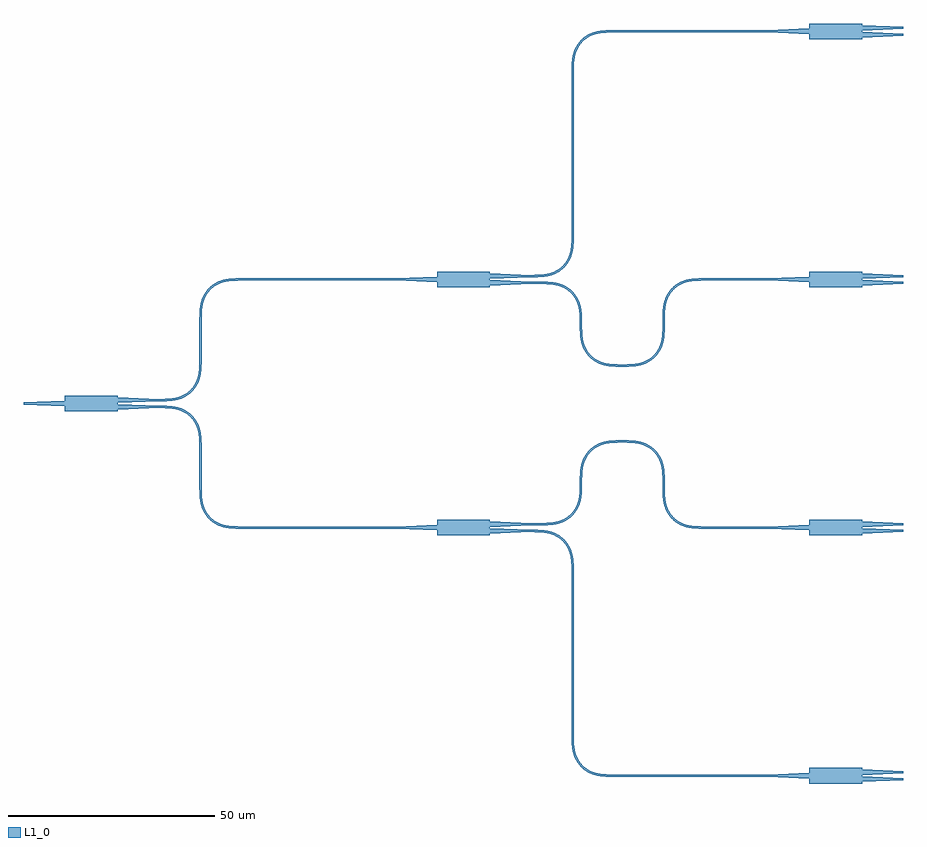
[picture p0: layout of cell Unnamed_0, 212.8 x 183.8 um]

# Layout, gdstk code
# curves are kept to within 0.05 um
from math import pi, radians
import gdstk
lib = gdstk.Library(unit=1e-6, precision=1e-09)
def R(c, l, rs):  # rectangles x0, y0, x1, y1
    for r in rs: c.add(gdstk.rectangle(r[:2], r[2:], *l))
def P(c, l, *ps):  # polygons
    for p in ps: c.add(gdstk.Polygon(p, *l))
L1_0 = (1, 0)

c__mmi1x2_lm12p8_wm3p8_gm0 = lib.new_cell('_mmi1x2_LM12p8_WM3p8_GM0p25_LT10_WT1p4')
P(c__mmi1x2_lm12p8_wm3p8_gm0, L1_0, [(0,-1.9),(0,-0.7),(-10,-0.25),(-10,0.25),(0,0.7),(0,1.9),(12.8,1.9),(12.8,1.525),(22.8,1.075),(22.8,0.575),(12.8,0.125),(12.8,-0.125),(22.8,-0.575),(22.8,-1.075),(12.8,-1.525),(12.8,-1.9)])

bend_euler_gdsfactorypco = lib.new_cell('bend_euler_gdsfactorypcomponentspbendspbend_euler_R10_A_335c8724')
P(bend_euler_gdsfactorypco, L1_0, [(0,-0.25),(0,0.25),(2.881,0.353),(3.952,0.52),(4.99,0.806),(6.431,1.505),(7.575,2.425),(8.495,3.569),(9.194,5.01),(9.48,6.048),(9.647,7.119),(9.75,10),(10.25,10),(10.158,7.205),(9.797,5.254),(9.457,4.312),(9.066,3.545),(8.5,2.715),(7.928,2.072),(7.285,1.5),(6.455,0.934),(5.688,0.543),(4.746,0.203),(2.795,-0.158)])

straight_gdsfactorypcomp = lib.new_cell('straight_gdsfactorypcomponentspwaveguidespstraight_L9p1_903e26ba')
R(straight_gdsfactorypcomp, L1_0, [(0,-0.25,9.175,0.25)])

c_straight_gdsfactorypcomp = lib.new_cell('straight_gdsfactorypcomponentspwaveguidespstraight_L37p_cfa5a4ce')
R(c_straight_gdsfactorypcomp, L1_0, [(0,-0.25,37.2,0.25)])

c_straight_gdsfactorypcomp_ = lib.new_cell('straight_gdsfactorypcomponentspwaveguidespstraight_L39p_f76e6299')
R(c_straight_gdsfactorypcomp_, L1_0, [(0,-0.25,39.175,0.25)])

c_straight_gdsfactorypcomp__ = lib.new_cell('straight_gdsfactorypcomponentspwaveguidespstraight_L2_N_815d3d03')
R(c_straight_gdsfactorypcomp__, L1_0, [(0,-0.25,2,0.25)])

c_straight_gdsfactorypcomp___ = lib.new_cell('straight_gdsfactorypcomponentspwaveguidespstraight_L0p8_72a7319a')
R(c_straight_gdsfactorypcomp___, L1_0, [(0,-0.25,0.825,0.25)])

c_straight_gdsfactorypcomp____ = lib.new_cell('straight_gdsfactorypcomponentspwaveguidespstraight_L15p_72c0b567')
R(c_straight_gdsfactorypcomp____, L1_0, [(0,-0.25,15.2,0.25)])

unnamed_0 = lib.new_cell('Unnamed_0')
unnamed_0.add(gdstk.Reference(c__mmi1x2_lm12p8_wm3p8_gm0, (0,-10)))
unnamed_0.add(gdstk.Reference(c__mmi1x2_lm12p8_wm3p8_gm0, (90,20)))
unnamed_0.add(gdstk.Reference(c__mmi1x2_lm12p8_wm3p8_gm0, (90,-40)))
unnamed_0.add(gdstk.Reference(c__mmi1x2_lm12p8_wm3p8_gm0, (180,80)))
unnamed_0.add(gdstk.Reference(c__mmi1x2_lm12p8_wm3p8_gm0, (180,20)))
unnamed_0.add(gdstk.Reference(c__mmi1x2_lm12p8_wm3p8_gm0, (180,-40)))
unnamed_0.add(gdstk.Reference(c__mmi1x2_lm12p8_wm3p8_gm0, (180,-100)))
unnamed_0.add(gdstk.Reference(bend_euler_gdsfactorypco, (32.8,0.825), rotation=3*pi/2, x_reflection=True))
unnamed_0.add(gdstk.Reference(bend_euler_gdsfactorypco, (42.8,20), rotation=pi))
unnamed_0.add(gdstk.Reference(straight_gdsfactorypcomp, (32.8,0.825), rotation=pi/2))
unnamed_0.add(gdstk.Reference(c_straight_gdsfactorypcomp, (42.8,20)))
unnamed_0.add(gdstk.Reference(bend_euler_gdsfactorypco, (32.8,-20.825), rotation=pi/2))
unnamed_0.add(gdstk.Reference(bend_euler_gdsfactorypco, (42.8,-40), rotation=pi, x_reflection=True))
unnamed_0.add(gdstk.Reference(straight_gdsfactorypcomp, (32.8,-20.825), rotation=3*pi/2))
unnamed_0.add(gdstk.Reference(c_straight_gdsfactorypcomp, (42.8,-40)))
unnamed_0.add(gdstk.Reference(bend_euler_gdsfactorypco, (122.8,30.825), rotation=3*pi/2, x_reflection=True))
unnamed_0.add(gdstk.Reference(bend_euler_gdsfactorypco, (132.8,80), rotation=pi))
unnamed_0.add(gdstk.Reference(c_straight_gdsfactorypcomp_, (122.8,30.825), rotation=pi/2))
unnamed_0.add(gdstk.Reference(c_straight_gdsfactorypcomp, (132.8,80)))
unnamed_0.add(gdstk.Reference(bend_euler_gdsfactorypco, (124.8,9.175), rotation=pi/2))
unnamed_0.add(gdstk.Reference(c_straight_gdsfactorypcomp__, (112.8,19.175)))
unnamed_0.add(gdstk.Reference(bend_euler_gdsfactorypco, (134.8,-0.825), rotation=pi, x_reflection=True))
unnamed_0.add(gdstk.Reference(bend_euler_gdsfactorypco, (144.8,9.175), rotation=3*pi/2, x_reflection=True))
unnamed_0.add(gdstk.Reference(bend_euler_gdsfactorypco, (154.8,20), rotation=pi))
unnamed_0.add(gdstk.Reference(c_straight_gdsfactorypcomp___, (144.8,9.175), rotation=pi/2))
unnamed_0.add(gdstk.Reference(c_straight_gdsfactorypcomp____, (154.8,20)))
unnamed_0.add(gdstk.Reference(bend_euler_gdsfactorypco, (124.8,-29.175), rotation=3*pi/2, x_reflection=True))
unnamed_0.add(gdstk.Reference(c_straight_gdsfactorypcomp__, (112.8,-39.175)))
unnamed_0.add(gdstk.Reference(bend_euler_gdsfactorypco, (134.8,-19.175), rotation=pi))
unnamed_0.add(gdstk.Reference(bend_euler_gdsfactorypco, (144.8,-29.175), rotation=pi/2))
unnamed_0.add(gdstk.Reference(bend_euler_gdsfactorypco, (154.8,-40), rotation=pi, x_reflection=True))
unnamed_0.add(gdstk.Reference(c_straight_gdsfactorypcomp___, (144.8,-29.175), rotation=3*pi/2))
unnamed_0.add(gdstk.Reference(c_straight_gdsfactorypcomp____, (154.8,-40)))
unnamed_0.add(gdstk.Reference(bend_euler_gdsfactorypco, (122.8,-50.825), rotation=pi/2))
unnamed_0.add(gdstk.Reference(bend_euler_gdsfactorypco, (132.8,-100), rotation=pi, x_reflection=True))
unnamed_0.add(gdstk.Reference(c_straight_gdsfactorypcomp_, (122.8,-50.825), rotation=3*pi/2))
unnamed_0.add(gdstk.Reference(c_straight_gdsfactorypcomp, (132.8,-100)))

lib.write_gds('Unnamed_0.gds')
